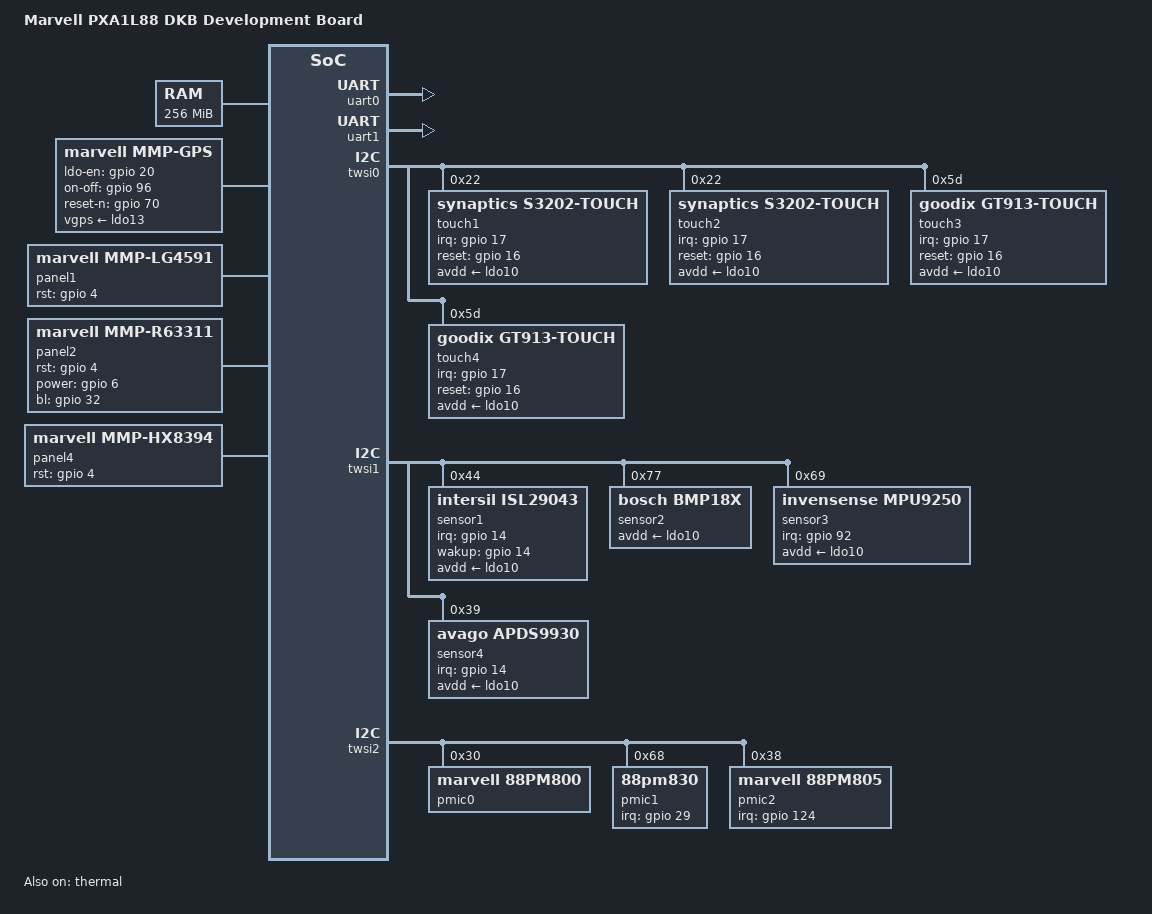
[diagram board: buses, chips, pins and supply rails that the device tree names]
/*
 *  Copyright (C) 2012 Marvell Technology Group Ltd.
 *  Author: Haojian Zhuang <haojian.zhuang@marvell.com>
 *
 *  This program is free software; you can redistribute it and/or modify
 *  it under the terms of the GNU General Public License version 2 as
 *  publishhed by the Free Software Foundation.
 */

#include "pxa1088.dtsi"

/ {
	model = "Marvell PXA1L88 DKB Development Board";

	chosen {
		bootargs = "console=ttyS0,115200 root=/dev/nfs nfsroot=192.168.1.100:/nfsroot/ ip=192.168.1.101:192.168.1.100::255.255.255.0::eth0:on";
	};

	memory {
		reg = <0x00000000 0x10000000>;
	};

	soc {
		ddr@c0100000 {  /* DDR memory controller */
			status = "okay";
		};

		apb@d4000000 {
			pdma0: pdma@d4000000 {
				status = "okay";
			};

			uart0: uart@d4017000 {
				pinctrl-names = "default", "sleep";
				pinctrl-0 = <&uart0_pmx_func1 &uart0_pmx_func2>;
				pinctrl-1 = <&uart0_pmx_func1_sleep &uart0_pmx_func2>;
				edge-wakeup-gpio = <47>; /* GPIO47: UART rx pin */
				status = "okay";
			};

			uart1: uart@d4018000 {
				pinctrl-names = "default";
				pinctrl-0 = <&uart1_pmx_func>;
				status = "okay";
			};


			edgewakeup: edgewakeup@d4019800 {
				status = "ok";
			};

			keypad: keypad@d4012000 {
				keypad,num-rows = <2>;
				keypad,num-columns = <1>;
				linux,keymap = <0x00000073
						0x01000072>;
				marvell,debounce-interval = <30>;
				pinctrl-names = "default";
				pinctrl-0 = <&keypad_in_func  &keypad_out_func>;
				status = "okay";
			};

			keyreset {
				compatible = "marvell,keyreset";
				keys-down = <0x73 0x72>;
				keyreset-need-panic;
			};

			ssp_dai1: pxa-ssp-dai@1 {
				compatible = "mrvl,pxa-ssp-dai";
				reg = <0x1 0x0>;
				port = <&ssp1>;
				pinctrl-names = "default","ssp";
				pinctrl-0 = <&i2s_gpio>;
				pinctrl-1 = <&i2s_func>;
				ssp-gpio = <&gpio 21 0 &gpio 22 0 &gpio 23 0 &gpio 24 0>;
				asram = <&sram>;
				platform_driver_name = "tdma_platform";
				burst_size = <4>;
				playback_period_bytes = <4096>;
				playback_buffer_bytes = <20480>;
				capture_period_bytes = <4096>;
				capture_buffer_bytes = <20480>;
			};

			ssp_dai4: pxa-ssp-dai@4 {
				compatible = "mrvl,pxa-ssp-dai";
				reg = <0x4 0x0>;
				port = <&ssp4>;
				pinctrl-names = "default","ssp";
				pinctrl-0 = <&gssp_gpio>;
				pinctrl-1 = <&gssp_func>;
				ssp-gpio = <&gpio 25 0 &gpio 26 0 &gpio 27 0 &gpio 28 0>;
				dmas = <&pdma0 6 0
					&pdma0 7 0>;
				dma-names = "rx", "tx";
				platform_driver_name = "pdma_platform";
				burst_size = <8>;
				playback_period_bytes = <4096>;
				playback_buffer_bytes = <131072>;
				capture_period_bytes = <4096>;
				capture_buffer_bytes = <131072>;
			};

			thermal: thermal@d4013200 {
				compatible = "marvell,pxa-thermal";
				reg = <0xd4013200 0x50>;
				interrupts = <0 60 0x4>;
				trigger_levels_count = <4>;
				type = <2>;
				status = "ok";
			};

			pmx: pinmux@d401e000 {
				/* pin base, nr pins & gpio function */
				pinctrl-single,gpio-range = <
					/*
					 * GPIO number is hardcoded for range at here.
					 * In gpio chip, GPIO number is not hardcoded for range.
					 * Since one gpio pin may be routed to multiple pins,
					 * define these gpio range in pxa910-dkb.dts not pxa910.dtsi.
					 */
					&range 55 55 0	/* GPIO0 ~ GPIO54 */
					&range 110 32 0 /* GPIO67 ~ GPIO98 */
					&range 52 1 0	/* GPIO124 */
				>;
				pinctrl-names = "default";
				pinctrl-0 = <&mfp_pins_group_0 &mfp_pins_group_1 &mfp_pins_group_2 &mfp_pins_group_3 &mfp_pins_group_4 &mfp_pins_group_5 &mfp_pins_group_6 &mfp_pins_group_7>;
				/* MFP_LPM_FLOAT */
				mfp_pins_group_0: mfp_pins_group_0 {
					pinctrl-single,pins = <
						DF_IO8 AF0
						DF_IO9 AF0
						DF_IO10 AF0
						DF_IO11 AF0
						DF_IO12 AF0
						DF_IO13 AF0
						DF_IO14 AF0
						DF_IO15 AF0
						DF_WEn AF1
						DF_REn AF1
						DF_ALE_SM_WEn AF1
						DF_RDY0 AF0
					>;
					MFP_LPM_FLOAT;
				};

				/* MFP_PULL_LOW && MFP_LPM_PULL_FLOAT */
				mfp_pins_group_1: mfp_pins_group_1 {
					pinctrl-single,pins = <
						DF_nCS0_SM_nCS2 AF0
						DF_nCS1_SM_nCS3 AF1
						SM_nCS1 AF1
						GPIO15 AF0
						GPIO72 AF0
					>;
					DS_MEDIUM;PULL_DOWN;EDGE_NONE;LPM_FLOAT;
				};

				/* MFP_PULL_LOW && LPM_OUTPUT_DRIVE_LOW */
				mfp_pins_group_2: mfp_pins_group_2 {
					pinctrl-single,pins = <
						GPIO18 AF0
					>;
					DS_MEDIUM;PULL_DOWN;EDGE_NONE;LPM_DRIVE_LOW;
				};

				/* MFP_PULL_LOW */
				mfp_pins_group_3: mfp_pins_group_3 {
					pinctrl-single,pins = <
						GPIO70 AF0
						GPIO97 AF0
						GPIO43 AF0
						GPIO44 AF0
						GPIO49 AF0
						GPIO50 AF0
						GPIO90 AF0
						GPIO92 AF0
						GPIO98 AF0
					>;
					MFP_PULL_DOWN;
				};

				/* MFP_PULL_HIGH */
				mfp_pins_group_4: mfp_pins_group_4 {
					pinctrl-single,pins = <
						SM_RDY_GPIO_3 AF1
						GPIO14 AF0
						GPIO91 AF0
					>;
					MFP_PULL_UP;
				};

				/* MFP_PULL_FLOAT */
				mfp_pins_group_5: mfp_pins_group_5 {
					pinctrl-single,pins = <
						GPIO4 AF0
						GPIO20 AF0
						GPIO36 AF0
						GPIO96 AF0
						GPIO67 AF0
						GPIO68 AF0
						GPIO69 AF0
						GPIO80 AF0
					>;
					MFP_PULL_FLOAT;
				};

				/* MFP_PULL_FLOAT && MFP_LPM_PULL_FLOAT */
				mfp_pins_group_6: mfp_pins_group_6 {
					pinctrl-single,pins = <
						GPIO32 AF0
						GPIO12 AF0
					>;
					DS_MEDIUM;PULL_FLOAT;EDGE_NONE;LPM_FLOAT;
				};

				/* MFP_DEFAULT */
				mfp_pins_group_7: mfp_pins_group_7 {
					pinctrl-single,pins = <
						GPIO124 AF0
						GPIO3 AF0
						GPIO5 AF0
						GPIO6 AF0
						GPIO11 AF0
						GPIO13 AF0
						GPIO19 AF0
						GPIO10 AF0
						GPIO30 AF0
						GPIO31 AF0
						GPIO33 AF0
						GPIO34 AF0
						GPIO35 AF0
						GPIO51 AF1
						GPIO52 AF1
						GPIO73 AF0
						GPIO74 AF0
						GPIO75 AF0
						GPIO76 AF0
						GPIO77 AF1
						GPIO78 AF0
						GPIO79 AF0
					>;
					MFP_DEFAULT;
				};
				keypad_in_func: keypad_in_func {
					pinctrl-single,pins = <
						GPIO0 AF1
						GPIO2 AF1
					>;
					MFP_DEFAULT;
				};

				keypad_out_func: keypad_out_func {
					pinctrl-single,pins = <
						GPIO1 AF1
					>;
					DS_MEDIUM;PULL_FLOAT;EDGE_NONE;LPM_DRIVE_HIGH;
				};

				twsi0_pmx_func: twsi0_pmx_func {
					pinctrl-single,pins = <
						GPIO53 AF2
						GPIO54 AF2
					>;
					MFP_LPM_FLOAT;
				};
				twsi0_pmx_gpio: twsi0_pmx_gpio {
					pinctrl-single,pins = <
						GPIO53 AF0
						GPIO54 AF0
					>;
					MFP_LPM_FLOAT;
				};
				twsi1_pmx_func: twsi1_pmx_func {
					pinctrl-single,pins = <
						GPIO87 AF5
						GPIO88 AF5
					>;
					MFP_LPM_FLOAT;
				};
				twsi1_pmx_gpio: twsi1_pmx_gpio {
					pinctrl-single,pins = <
						GPIO87 AF0
						GPIO88 AF0
					>;
					MFP_LPM_FLOAT;
				};

				pm830_pmx_func1: pm830_pmx_func1 {
					pinctrl-single,pins = <
						GPIO29 AF0
					>;
					MFP_DEFAULT;
				};
				pm830_pmx_func1_sleep: pm830_pmx_func1_sleep {
					pinctrl-single,pins = <
						GPIO29 AF0
					>;
					DS_MEDIUM;PULL_NONE;EDGE_BOTH;LPM_NONE;
				};

				uart0_pmx_func1: uart0_pmx_func1 {
					pinctrl-single,pins = <
						GPIO47 AF6
					>;
					MFP_DEFAULT;
				};

				uart0_pmx_func2: uart0_pmx_func2 {
					pinctrl-single,pins = <
						GPIO48 AF6
					>;
					MFP_DEFAULT;
				};

				uart0_pmx_func1_sleep: uart0_pmx_func1_sleep {
					pinctrl-single,pins = <
						GPIO47 AF6
					>;
					DS_MEDIUM;
					PULL_NONE;
					EDGE_BOTH;
					LPM_NONE;
				};

				uart1_pmx_func: uart1_pmx_func {
					pinctrl-single,pins = <
						GPIO45 AF1
						GPIO46 AF1
					>;
					MFP_DEFAULT;
				};

				touch_pins: touch_pins {
					pinctrl-single,pins = <
						GPIO16 AF0
						GPIO17 AF0
					>;
					MFP_LPM_FLOAT;
				};
				i2s_func: i2s_func {
					pinctrl-single,pins = <
						GPIO21 AF1
						GPIO22 AF1
						GPIO23 AF1
						GPIO24 AF1
					>;
					MFP_DEFAULT;
				};
				i2s_gpio: i2s_gpio {
					pinctrl-single,pins = <
						GPIO21 AF0
						GPIO22 AF0
						GPIO23 AF0
						GPIO24 AF0
					>;
					MFP_LPM_FLOAT;
				};
				gssp_func: gssp_func {
					pinctrl-single,pins = <
						GPIO25 AF1
						GPIO26 AF1
						GPIO27 AF1
						GPIO28 AF1
					>;
					MFP_DEFAULT;
				};
				gssp_gpio: gssp_gpio {
					pinctrl-single,pins = <
						GPIO25 AF0
						GPIO26 AF0
						GPIO27 AF0
						GPIO28 AF0
					>;
					MFP_LPM_FLOAT;
				};
				gps_pmx_eclk: gps_pmx_eclk {
					/* eclk */
					pinctrl-single,pins = <
						GPIO89 AF5
					>;
					MFP_DEFAULT;
				};

				gps_pmx_gpio: gps_pmx_gpio {
					/* gpio */
					pinctrl-single,pins = <
						GPIO89 AF0
					>;
					MFP_DEFAULT;
				};

				/* no pull, no LPM */
				dvc_pmx_func: dvc_pmx_func {
					pinctrl-single,pins = <
						GPIO93 AF5
						GPIO94 AF5
					>;
					MFP_DEFAULT;
				};
			};

			twsi0: i2c@d4011000 {
				pinctrl-names = "default","gpio";
				pinctrl-0 = <&twsi0_pmx_func>;
				pinctrl-1 = <&twsi0_pmx_gpio>;
				i2c-gpio = <&gpio 53 0 &gpio 54 0>;
				status = "okay";

				touch1: s3202@720p {
					compatible = "synaptics,s3202-touch";
					pinctrl-names = "default"; pinctrl-0 = <&touch_pins>;
					reg = <0x22>;
					interrupt-parent = <&gpio>;
					interrupts = <17 0x1>;
					/* IRQF_ONESHOT | IRQF_TRIGGER_FALLING */
					synaptics,irq-flags =  <0x2002>;
					synaptics,irq-gpios = <&gpio 17 0>;
					synaptics,reset-gpios = <&gpio 16 0>;
					synaptics,sensor_res_x = <720>;
					synaptics,sensor_res_y = <1280>;
					synaptics,sensor_max_x = <798>;
					synaptics,sensor_max_y = <1392>;
					synaptics,sensor_margin_x = <39>;
					synaptics,sensor_margin_y = <0>;
					avdd-supply = <&ldo10>;
				};

				touch2: s3202@1080p {
					compatible = "synaptics,s3202-touch";
					pinctrl-names = "default"; pinctrl-0 = <&touch_pins>;
					reg = <0x22>;
					interrupt-parent = <&gpio>;
					interrupts = <17 0x1>;
					/* IRQF_ONESHOT | IRQF_TRIGGER_FALLING */
					synaptics,irq-flags =  <0x2002>;
					synaptics,irq-gpios = <&gpio 17 0>;
					synaptics,reset-gpios = <&gpio 16 0>;
					synaptics,sensor_res_x = <1080>;
					synaptics,sensor_res_y = <1920>;
					synaptics,sensor_max_x = <1080>;
					synaptics,sensor_max_y = <2070>;
					synaptics,sensor_margin_x = <0>;
					synaptics,sensor_margin_y = <0>;
					avdd-supply = <&ldo10>;
				};

				touch3: gt913@720p {
					compatible = "goodix,gt913-touch";
					pinctrl-names = "default"; pinctrl-0 = <&touch_pins>;
					reg = <0x5d>;
					interrupt-parent = <&gpio>;
					interrupts = <17 0x1>;
					irq-gpios = <&gpio 17 0>;
					reset-gpios = <&gpio 16 0>;
					goodix,cfg-group = <0>;
					goodix,max-height = <1280>;
					goodix,max-width = <720>;
					avdd-supply = <&ldo10>;
				};

				touch4: gt913@1080p {
					compatible = "goodix,gt913-touch";
					pinctrl-names = "default"; pinctrl-0 = <&touch_pins>;
					reg = <0x5d>;
					interrupt-parent = <&gpio>;
					interrupts = <17 0x1>;
					irq-gpios = <&gpio 17 0>;
					reset-gpios = <&gpio 16 0>;
					goodix,cfg-group = <0>;
					goodix,max-height = <1920>;
					goodix,max-width = <1080>;
					avdd-supply = <&ldo10>;
				};
			};

			twsi1: i2c@d4010800 {
				pinctrl-names = "default","gpio";
				pinctrl-0 = <&twsi1_pmx_func>;
				pinctrl-1 = <&twsi1_pmx_gpio>;
				i2c-gpio = <&gpio 87 0 &gpio 88 0>;
				status = "okay";

				sensor1: isl29043@44 {
					compatible = "intersil,isl29043";
					reg = <0x44>;
					interrupt-parent = <&gpio>;
					interrupts = <14 0x1>;
					irq-gpios = <&gpio 14 0>;
					intersil,wakup-gpios = <&gpio 14 0>;
					avdd-supply = <&ldo10>;
				};

				sensor2: bmp18x@77 {
					compatible = "bosch,bmp18x";
					reg = <0x77>;
					avdd-supply = <&ldo10>;
				};

				sensor3: mpu9250@69 {
					compatible = "invensense,mpu9250";
					reg = <0x69>;
					interrupt-parent = <&gpio>;
					interrupts = <92 0x2>;
					inven,irq-gpios = <&gpio 92 0x00>;
					avdd-supply = <&ldo10>;
					axis_map_x = <0>;
					negate_x = <0>;
					axis_map_y = <4>;
					negate_y = <0>;
					axis_map_z = <8>;
					negate_z = <0>;
					inven,secondary_axis_map_x = <0>;
					inven,secondary_negate_x = <0>;
					inven,secondary_axis_map_y = <4>;
					inven,secondary_negate_y = <0>;
					inven,secondary_axis_map_z = <8>;
					inven,secondary_negate_z = <0>;
					inven,secondary_type = "compass";
					inven,secondary_name = "ak8963";
					inven,secondary_reg = <0xc>;
				};

				sensor4: apds9930@39 {
					compatible = "avago,apds9930";
					reg = <0x39>;
					interrupt-parent = <&gpio>;
					interrupts = <14 0x1>;
					irq-gpios = <&gpio 14 0>;
					avdd-supply = <&ldo10>;
				};
			};

			twsi2: i2c@d4037000 {
				status = "okay";

				pmic0: 88pm822@30 {
					compatible = "marvell,88pm800";
					reg = <0x30>;
					interrupts = <0 4 0x4>;
					interrupt-parent = <&gic>;
					interrupt-controller;
					#interrupt-cells = <1>;
					marvell,88pm800-irq-write-clear;
					dvc {
						pinctrl-names = "default";
						pinctrl-0 = <&dvc_pmx_func>;
						status = "okay";
					};

					headset {
						compatible = "marvell,88pm80x-headset";
						marvell,switch-name = "h2w";
						marvell,headset-flag = <1>;
						marvell,hook-press-th = <60>;
						marvell,vol-up-press-th = <250>;
						marvell,vol-down-press-th = <500>;
						marvell,mic-det-th = <600>;
						marvell,press-release-th = <600>;
						marvell,micbias-supply = <&ldo14>;
					};
				};

				pmic1: 88pm830@68 {
					pinctrl-names = "default", "sleep";
					pinctrl-0 = <&pm830_pmx_func1>;
					pinctrl-1 = <&pm830_pmx_func1_sleep>;
					edge-wakeup-gpio = <29>; /* GPIO29: interrupt line */

					reg = <0x68>;
					interrupt-parent = <&gpio>;
					interrupts = <29 2>;
					charger {
						status = "okay";
					};

					battery {
						marvell,fg-has-external-storeage;
						external-storage = <&pmic0>;
						/* board design related */
						external-resistor = <200>; /* mohm */
						/* using scenario */
						power-off-threshold = <3350>; /* mV */
						safe-power-off-threshold = <3000>; /* mV */
						status = "okay";
					};

					led {
						flash-en-gpio = <18>;
						flash-txmsk-gpio = <19>;
						status = "okay";
					};

					vbus {
						gpadc-number = <1>;
						status = "okay";
					};

					debug {
						status = "okay";
					};
				};

				pmic2: 88pm805@38 {
					compatible = "marvell,88pm805";
					reg = <0x38>;
					interrupt-parent = <&gpio>;
					interrupts = <124 0x1>;
					marvell,88pm805-irq-write-clear;
				};
			};

			acipc: acipc@d401d000 {
				status = "okay";
			};

			seh: seh@d4080000 {
				status = "okay";
			};

			cp-load {
				compatible = "marvell,cp_load";
				cp-type = <1>; /* pxa1L88 */
				lpm-qos = <PM_QOS_CPUIDLE_BLOCK_AXI>;
				status = "okay";
			};
		};
	};

	sound {
		compatible = "marvell,pxa-88pm805-snd-card";
		ssp-controllers = <&ssp_dai1 &ssp_dai4>;
	};

	gps: mmp-gps {
		compatible = "marvell,mmp-gps";
		marvell,gps-eclk-ctrl;

		vgps-supply = <&ldo13>;

		pinctrl-names = "default", "idle";
		pinctrl-0 = <&gps_pmx_eclk>;
		pinctrl-1 = <&gps_pmx_gpio>;

		ldo-en-gpio = <&gpio 20 0>;
		on-off-gpio = <&gpio 96 0>;
		reset-n-gpio = <&gpio 70 0>;
	};

	touch: vnc {
		compatible = "vnc-ts";
	};

	ion {
		marvell,ion-nr = <2>;
		status = "okay";
		heap1 {
			marvell,ion-name = "carveout_heap";
			marvell,ion-type = <2>;
			marvell,ion-id = <2>;
			marvell,ion-base = <0>;
			marvell,ion-size = <0>;
		};
		heap2 {
			marvell,ion-name = "system_heap";
			marvell,ion-type = <0>;
			marvell,ion-id = <0>;
		};
	};

	panel1: lg4591 {
		compatible = "marvell,mmp-lg4591";
		marvell,path-name = "mmp_pnpath";
		panel_esd = <0>;
		rst_gpio = <&gpio 4 0>;
		status = "okay";
	};

	panel2: r63311 {
		compatible = "marvell,mmp-r63311";
		marvell,path-name = "mmp_pnpath";
		marvell,ddrfreq-qos = <312000>; /* DDR_CONSTRAINT_LVL1 */
		rst_gpio = <&gpio 4 0>;
		power_gpio = <&gpio 6 0>;
		bl_gpio = <&gpio 32 0>;
		status = "okay";
	};

	panel4: hx8394 {
		compatible = "marvell,mmp-hx8394";
		marvell,path-name = "mmp_pnpath";
		panel_esd = <0>;
		rst_gpio = <&gpio 4 0>;
		status = "okay";
	};
};
#include "88pm822.dtsi"
#include "88pm822_pxa1L88_dkb.dtsi"

#include "88pm830.dtsi"
#include "88pm830_battery_common.dtsi"
#include "88pm830_sp4555557sa.dtsi"
